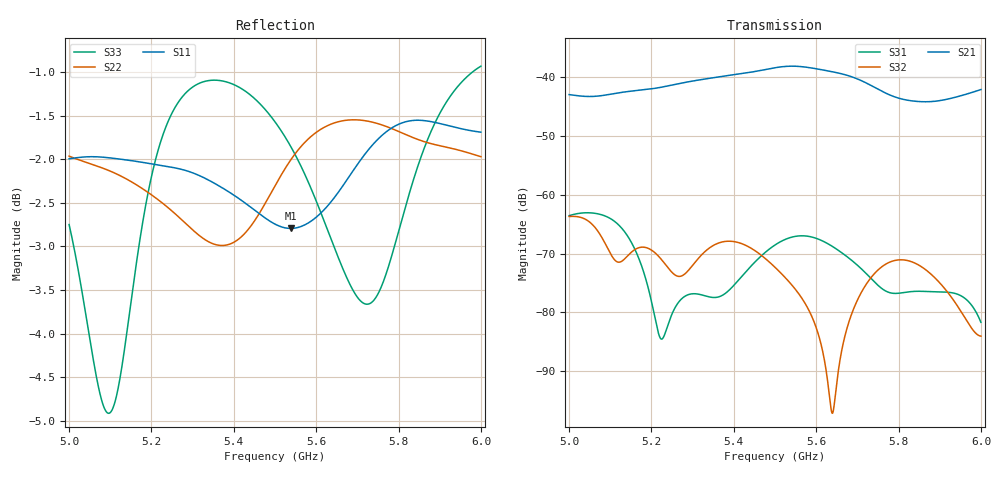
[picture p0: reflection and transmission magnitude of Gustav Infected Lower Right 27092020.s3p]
! TOUCHSTONE file generated by CST MICROWAVE STUDIO
! Date and time: Sun Sep 27 04:05:56 2020
! Project name: Gustave Lung Lower Right.cst
! Header version: 2018
! Port assignment regex: !\s*Touchstone port\s*([0-9]+)\s*=\s*(CST MWS port|CST DS port)\s*([0-9]+|Zmin|Zmax)\s*\(\"(.*)\"\)(\s*mode\s*([0-9]+))?.*
! Touchstone port assignment:
! Touchstone port 1 = CST MWS port 1 ("")
! Touchstone port 2 = CST MWS port 2 ("")
! Touchstone port 3 = CST MWS port 3 ("")
# GHz S RI R 50
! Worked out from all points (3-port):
!   1001 points, 5 GHz to 6 GHz, reference 50 ohm
!   strongest paths, dB at 5 GHz, 5.25 GHz, 5.5 GHz, 5.75 GHz, 6 GHz:
!     S21: -43.0, -41.4, -38.5, -42.1, -42.2
!     S32: -63.7, -73.2, -72.3, -72.8, -84.0
!     S31: -63.6, -80.2, -68.5, -75.4, -81.7
!   lowest |S11| = -2.8 dB at 5.538 GHz (marker M1), VSWR 6.27, Z = 310 + j34 ohm
!   |S11| at or under -10 dB: nowhere
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5  0.7947 -0.0113  0.00508 -0.00493  -0.000365 -0.000535
   0.00508 -0.00489  0.7962 -0.047  -0.000423 -0.000503
   -0.000348 -0.000565  -0.000427 -0.000494  0.7108 -0.1603
5.121  0.7944 -0.0155  -0.00534 -0.00502  8.15e-05 0.000555
       -0.00532 -0.00501  0.7766 -0.044  -0.000134 0.000231
       6.73e-05 0.000546  -0.000131 0.000233  0.5849 0.08
5.211  0.7885 -0.0174  -0.0071 0.0037  8.37e-05 -7.01e-06
       -0.00709 0.00371  0.7535 -0.0392  0.000232 0.000211
       8.06e-05 -1.39e-05  0.000232 0.000213  0.7785 0.1645
5.27  0.7839 -0.0193  -0.00282 0.00833  0.000115 4.17e-05
      -0.00283 0.00833  0.734 -0.0288  0.000198 4.96e-05
      0.000119 4.51e-05  0.000197 4.85e-05  0.852 0.1137
5.398  0.7579 -0.0194  0.00988 0.00322  8.6e-05 -0.00014
       0.00988 0.00322  0.7103 0.0397  -7.68e-05 -0.000393
       8.89e-05 -0.000141  -7.76e-05 -0.000393  0.877 -0.000305
5.5  0.7291 0.0065  0.00757 -0.00922  -0.000345 -0.000152
     0.00757 -0.00922  0.7614 0.0921  -0.000189 0.000149
     -0.000341 -0.000153  -0.00019 0.00015  0.8322 -0.0625
5.538  0.7245 0.026  0.00248 -0.012  -0.000388 0.000187
       0.00248 -0.012  0.7881 0.0922  -4.09e-05 0.000171
       -0.000392 0.000185  -4.03e-05 0.000171  0.8044 -0.0757
5.683  0.7731 0.0892  -0.0101 -0.000584  0.000168 -0.000229
       -0.0101 -0.000581  0.8355 0.0435  -7.29e-05 5.47e-05
       0.000172 -0.000225  -7.29e-05 5.37e-05  0.6722 -0.0227
5.817  0.8324 0.0595  -0.00324 0.00549  0.000132 7.14e-05
       -0.00323 0.00549  0.8207 0.00933  0.00023 -0.000159
       0.000134 6.32e-05  0.000229 -0.000158  0.7317 0.1468
6  0.8229 0.0227  0.00475 0.00615  -5.19e-05 7.17e-05
   0.00474 0.00618  0.797 0.00703  -6.13e-05 2.4e-06
   -3.23e-05 7.6e-05  -6.29e-05 -3.1e-06  0.895 0.0754
